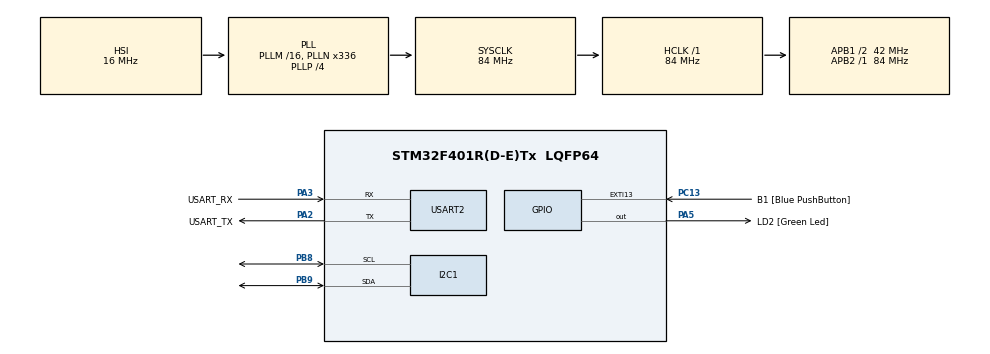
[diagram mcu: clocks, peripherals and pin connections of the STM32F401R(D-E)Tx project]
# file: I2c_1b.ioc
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Dma.Request0=USART2_TX
Dma.USART2_TX.0.Direction=DMA_MEMORY_TO_PERIPH
Dma.USART2_TX.0.FIFOMode=DMA_FIFOMODE_DISABLE
Dma.USART2_TX.0.Instance=DMA1_Stream6
Dma.USART2_TX.0.MemDataAlignment=DMA_MDATAALIGN_BYTE
Dma.USART2_TX.0.MemInc=DMA_MINC_ENABLE
Dma.USART2_TX.0.Mode=DMA_NORMAL
Dma.USART2_TX.0.PeriphDataAlignment=DMA_PDATAALIGN_BYTE
Dma.USART2_TX.0.PeriphInc=DMA_PINC_DISABLE
Dma.USART2_TX.0.Priority=DMA_PRIORITY_LOW
I2C1.DualAddressMode=I2C_DUALADDRESS_DISABLE
I2C1.OwnAddress=0
Mcu.Family=STM32F4
Mcu.Name=STM32F401R(D-E)Tx
Mcu.Package=LQFP64
NVIC.DMA1_Stream6_IRQn=true\:0\:0\:false\:false\:true\:false\:true\:true
NVIC.PriorityGroup=NVIC_PRIORITYGROUP_0
NVIC.TIM2_IRQn=true\:0\:0\:false\:false\:true\:true\:true\:true
NVIC.USART2_IRQn=true\:0\:0\:false\:false\:true\:true\:true\:true
PA13.GPIO_Label=TMS
PA13.Mode=Serial_Wire
PA13.Signal=SYS_JTMS-SWDIO
PA14.GPIO_Label=TCK
PA14.Mode=Serial_Wire
PA14.Signal=SYS_JTCK-SWCLK
PA2.GPIO_Label=USART_TX
PA2.GPIO_Mode=GPIO_MODE_AF_PP
PA2.GPIO_PuPd=GPIO_NOPULL
PA2.GPIO_Speed=GPIO_SPEED_FREQ_LOW
PA2.Mode=Asynchronous
PA2.Signal=USART2_TX
PA3.GPIO_Label=USART_RX
PA3.GPIO_Mode=GPIO_MODE_AF_PP
PA3.GPIO_PuPd=GPIO_NOPULL
PA3.GPIO_Speed=GPIO_SPEED_FREQ_LOW
PA3.Mode=Asynchronous
PA3.Signal=USART2_RX
PA5.GPIO_Label=LD2 [Green Led]
PA5.GPIO_Mode=GPIO_MODE_OUTPUT_PP
PA5.GPIO_PuPd=GPIO_NOPULL
PA5.GPIO_Speed=GPIO_SPEED_FREQ_LOW
PA5.Signal=GPIO_Output
PB3.GPIO_Label=SWO
PB3.Signal=SYS_JTDO-SWO
PB8.Mode=I2C
PB8.Signal=I2C1_SCL
PB9.Mode=I2C
PB9.Signal=I2C1_SDA
PC13-ANTI_TAMP.GPIO_Label=B1 [Blue PushButton]
PC13-ANTI_TAMP.GPIO_ModeDefaultEXTI=GPIO_MODE_IT_FALLING
PC13-ANTI_TAMP.GPIO_PuPd=GPIO_NOPULL
PC13-ANTI_TAMP.Signal=GPXTI13
PC14-OSC32_IN.Mode=LSE-External-Oscillator
PC14-OSC32_IN.Signal=RCC_OSC32_IN
PC15-OSC32_OUT.Mode=LSE-External-Oscillator
PC15-OSC32_OUT.Signal=RCC_OSC32_OUT
PH0\ -\ OSC_IN.Mode=HSE-External-Clock-Source
PH0\ -\ OSC_IN.Signal=RCC_OSC_IN
PH1\ -\ OSC_OUT.Mode=HSE-External-Clock-Source
PH1\ -\ OSC_OUT.Signal=RCC_OSC_OUT
ProjectManager.HeapSize=0x200
ProjectManager.StackSize=0x400
ProjectManager.TargetToolchain=STM32CubeIDE
RCC.48MHZClocksFreq_Value=48000000
RCC.AHBFreq_Value=84000000
RCC.APB1CLKDivider=RCC_HCLK_DIV2
RCC.APB1Freq_Value=42000000
RCC.APB1TimFreq_Value=84000000
RCC.APB2Freq_Value=84000000
RCC.APB2TimFreq_Value=84000000
RCC.CortexFreq_Value=84000000
RCC.HCLKFreq_Value=84000000
RCC.HSE_VALUE=8000000
RCC.HSI_VALUE=16000000
RCC.PLLN=336
RCC.PLLP=RCC_PLLP_DIV4
RCC.PLLQ=7
RCC.SYSCLKFreq_VALUE=84000000
RCC.SYSCLKSource=RCC_SYSCLKSOURCE_PLLCLK
RCC.VCOOutputFreq_Value=336000000
TIM2.Period=(TEMPO*10)-1
TIM2.Prescaler=8400-1
USART2.VirtualMode=VM_ASYNC
VP_TIM2_VS_ClockSourceINT.Mode=Internal
board=NUCLEO-F401RE

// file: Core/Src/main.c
/* USER CODE BEGIN Header */
/**
  ******************************************************************************
  * @file           : main.c
  * @brief          : Main program body
  ******************************************************************************
  * @attention
  *
  * Copyright (c) 2024 STMicroelectronics.
  * All rights reserved.
  *
  * This software is licensed under terms that can be found in the LICENSE file
  * in the root directory of this software component.
  * If no LICENSE file comes with this software, it is provided AS-IS.
  *
  ******************************************************************************
  */
/* USER CODE END Header */
#include "main.h"

I2C_HandleTypeDef hi2c1;
TIM_HandleTypeDef htim2;
UART_HandleTypeDef huart2;
DMA_HandleTypeDef hdma_usart2_tx;

void SystemClock_Config(void);
static void MX_GPIO_Init(void);
static void MX_DMA_Init(void);
static void MX_USART2_UART_Init(void);
static void MX_I2C1_Init(void);
static void MX_TIM2_Init(void);

/* USER CODE BEGIN 0 */
#define TEMPO 700

uint8_t LM75_REGISTER = 0x00;
uint8_t temp_reading[2];
uint16_t LM75_TX_ADDRESS = (0b1001000 << 1);
uint16_t LM75_RX_ADDRESS = (0b1001000 << 1) + 1;
char buffer_uart[100];

void HAL_TIM_PeriodElapsedCallback (TIM_HandleTypeDef *htim) {
	HAL_I2C_Master_Receive(&hi2c1, LM75_RX_ADDRESS, temp_reading, 2, 100);
	//temp_reading[0] = 0b11100101; Test for negative temperature of -27 degrees
	int16_t tx_temp = temp_reading[0];
	tx_temp = (tx_temp << 3) + (temp_reading[1] >> 5); // building final 11bit temperature from the two bytes
	if ((temp_reading[0] & 0b10000000) == 128) { // checking if MSBit of MSByte is 1 (negative temperature)
		tx_temp += 0b1111100000000000; // extending the 1 of the MSBit of the MSByte to the left (16-11=5 bits)
		tx_temp = -((~tx_temp)+1); // 2's complement
	}

	int length = snprintf(buffer_uart, sizeof(buffer_uart),	"Temperature: %0.3f %cC;\n", tx_temp*0.125, 176);
	HAL_UART_Transmit_DMA(&huart2, buffer_uart, length);
}
/* USER CODE END 0 */

int main(void)
{

  /* MCU Configuration--------------------------------------------------------*/

  /* Reset of all peripherals, Initializes the Flash interface and the Systick. */
  HAL_Init();

  /* Configure the system clock */
  SystemClock_Config();

  /* Initialize all configured peripherals */
  MX_GPIO_Init();
  MX_DMA_Init();
  MX_USART2_UART_Init();
  MX_I2C1_Init();
  MX_TIM2_Init();
  /* USER CODE BEGIN 2 */
  HAL_TIM_Base_Start_IT(&htim2);
  HAL_I2C_Master_Transmit(&hi2c1, LM75_TX_ADDRESS, &LM75_REGISTER, 1, 100);
  /* USER CODE END 2 */

  /* Infinite loop */
  while (1)
  {

  }
}

void SystemClock_Config(void)
{
  RCC_OscInitTypeDef RCC_OscInitStruct = {0};
  RCC_ClkInitTypeDef RCC_ClkInitStruct = {0};

  /** Configure the main internal regulator output voltage
  */
  __HAL_RCC_PWR_CLK_ENABLE();
  __HAL_PWR_VOLTAGESCALING_CONFIG(PWR_REGULATOR_VOLTAGE_SCALE2);

  /** Initializes the RCC Oscillators according to the specified parameters
  * in the RCC_OscInitTypeDef structure.
  */
  RCC_OscInitStruct.OscillatorType = RCC_OSCILLATORTYPE_HSI;
  RCC_OscInitStruct.HSIState = RCC_HSI_ON;
  RCC_OscInitStruct.HSICalibrationValue = RCC_HSICALIBRATION_DEFAULT;
  RCC_OscInitStruct.PLL.PLLState = RCC_PLL_ON;
  RCC_OscInitStruct.PLL.PLLSource = RCC_PLLSOURCE_HSI;
  RCC_OscInitStruct.PLL.PLLM = 16;
  RCC_OscInitStruct.PLL.PLLN = 336;
  RCC_OscInitStruct.PLL.PLLP = RCC_PLLP_DIV4;
  RCC_OscInitStruct.PLL.PLLQ = 7;
  if (HAL_RCC_OscConfig(&RCC_OscInitStruct) != HAL_OK)
  {
    Error_Handler();
  }

  /** Initializes the CPU, AHB and APB buses clocks
  */
  RCC_ClkInitStruct.ClockType = RCC_CLOCKTYPE_HCLK|RCC_CLOCKTYPE_SYSCLK
                              |RCC_CLOCKTYPE_PCLK1|RCC_CLOCKTYPE_PCLK2;
  RCC_ClkInitStruct.SYSCLKSource = RCC_SYSCLKSOURCE_PLLCLK;
  RCC_ClkInitStruct.AHBCLKDivider = RCC_SYSCLK_DIV1;
  RCC_ClkInitStruct.APB1CLKDivider = RCC_HCLK_DIV2;
  RCC_ClkInitStruct.APB2CLKDivider = RCC_HCLK_DIV1;

  if (HAL_RCC_ClockConfig(&RCC_ClkInitStruct, FLASH_LATENCY_2) != HAL_OK)
  {
    Error_Handler();
  }
}

static void MX_I2C1_Init(void)
{

  hi2c1.Instance = I2C1;
  hi2c1.Init.ClockSpeed = 100000;
  hi2c1.Init.DutyCycle = I2C_DUTYCYCLE_2;
  hi2c1.Init.OwnAddress1 = 0;
  hi2c1.Init.AddressingMode = I2C_ADDRESSINGMODE_7BIT;
  hi2c1.Init.DualAddressMode = I2C_DUALADDRESS_DISABLE;
  hi2c1.Init.OwnAddress2 = 0;
  hi2c1.Init.GeneralCallMode = I2C_GENERALCALL_DISABLE;
  hi2c1.Init.NoStretchMode = I2C_NOSTRETCH_DISABLE;
  if (HAL_I2C_Init(&hi2c1) != HAL_OK)
  {
    Error_Handler();
  }

}

static void MX_TIM2_Init(void)
{

  TIM_ClockConfigTypeDef sClockSourceConfig = {0};
  TIM_MasterConfigTypeDef sMasterConfig = {0};

  htim2.Instance = TIM2;
  htim2.Init.Prescaler = 8400-1;
  htim2.Init.CounterMode = TIM_COUNTERMODE_UP;
  htim2.Init.Period = (TEMPO*10)-1;
  htim2.Init.ClockDivision = TIM_CLOCKDIVISION_DIV1;
  htim2.Init.AutoReloadPreload = TIM_AUTORELOAD_PRELOAD_DISABLE;
  if (HAL_TIM_Base_Init(&htim2) != HAL_OK)
  {
    Error_Handler();
  }
  sClockSourceConfig.ClockSource = TIM_CLOCKSOURCE_INTERNAL;
  if (HAL_TIM_ConfigClockSource(&htim2, &sClockSourceConfig) != HAL_OK)
  {
    Error_Handler();
  }
  sMasterConfig.MasterOutputTrigger = TIM_TRGO_RESET;
  sMasterConfig.MasterSlaveMode = TIM_MASTERSLAVEMODE_DISABLE;
  if (HAL_TIMEx_MasterConfigSynchronization(&htim2, &sMasterConfig) != HAL_OK)
  {
    Error_Handler();
  }

}

static void MX_USART2_UART_Init(void)
{

  huart2.Instance = USART2;
  huart2.Init.BaudRate = 115200;
  huart2.Init.WordLength = UART_WORDLENGTH_8B;
  huart2.Init.StopBits = UART_STOPBITS_1;
  huart2.Init.Parity = UART_PARITY_NONE;
  huart2.Init.Mode = UART_MODE_TX_RX;
  huart2.Init.HwFlowCtl = UART_HWCONTROL_NONE;
  huart2.Init.OverSampling = UART_OVERSAMPLING_16;
  if (HAL_UART_Init(&huart2) != HAL_OK)
  {
    Error_Handler();
  }

}

static void MX_DMA_Init(void)
{

  /* DMA controller clock enable */
  __HAL_RCC_DMA1_CLK_ENABLE();

  /* DMA interrupt init */
  /* DMA1_Stream6_IRQn interrupt configuration */
  HAL_NVIC_SetPriority(DMA1_Stream6_IRQn, 0, 0);
  HAL_NVIC_EnableIRQ(DMA1_Stream6_IRQn);

}

static void MX_GPIO_Init(void)
{
  GPIO_InitTypeDef GPIO_InitStruct = {0};

  /* GPIO Ports Clock Enable */
  __HAL_RCC_GPIOC_CLK_ENABLE();
  __HAL_RCC_GPIOH_CLK_ENABLE();
  __HAL_RCC_GPIOA_CLK_ENABLE();
  __HAL_RCC_GPIOB_CLK_ENABLE();

  /*Configure GPIO pin Output Level */
  HAL_GPIO_WritePin(LD2_GPIO_Port, LD2_Pin, GPIO_PIN_RESET);

  /*Configure GPIO pin : B1_Pin */
  GPIO_InitStruct.Pin = B1_Pin;
  GPIO_InitStruct.Mode = GPIO_MODE_IT_FALLING;
  GPIO_InitStruct.Pull = GPIO_NOPULL;
  HAL_GPIO_Init(B1_GPIO_Port, &GPIO_InitStruct);

  /*Configure GPIO pin : LD2_Pin */
  GPIO_InitStruct.Pin = LD2_Pin;
  GPIO_InitStruct.Mode = GPIO_MODE_OUTPUT_PP;
  GPIO_InitStruct.Pull = GPIO_NOPULL;
  GPIO_InitStruct.Speed = GPIO_SPEED_FREQ_LOW;
  HAL_GPIO_Init(LD2_GPIO_Port, &GPIO_InitStruct);

}

void Error_Handler(void)
{
  __disable_irq();
  while (1)
  {
  }
}
